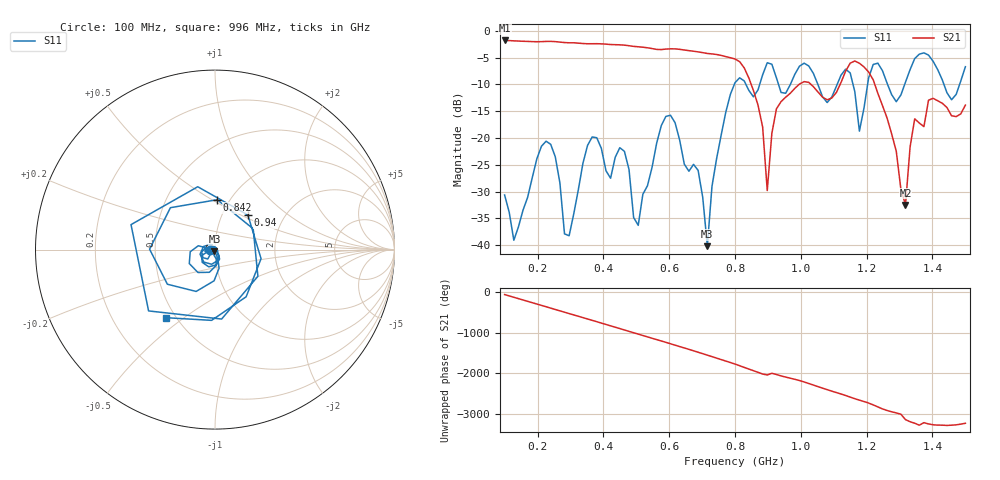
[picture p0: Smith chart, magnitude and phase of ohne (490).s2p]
! NanoVNA-App
! Date: 2025-09-25 14:24:37
! Start: 100MHz Stop: 1,5GHz Points: 101
! S-Parameter data: F S11 S21 S12 S22
# Hz S RI R 50
!  Frequency  S11_Real  S11_Imag  S21_Real  S21_Imag  S12_Real  S12_Imag  S22_Real  S22_Imag
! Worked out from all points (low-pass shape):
!   101 points, 100 MHz to 1.5 GHz, reference 50 ohm
!   highest |S21| = -1.79 dB at 100 MHz (marker M1); lowest = -32.5 dB at 1.318 GHz (marker M2)
!   |S21| within 3 dB of the highest: start of sweep to 770.9 MHz
!   lowest |S11| = -40.2 dB at 716 MHz (marker M3), VSWR 1.02, Z = 49.7 - j0.93 ohm
!   |S11| at or under -10 dB: start of sweep to 797.9 MHz; 833.2 MHz to 875 MHz (41.87 MHz wide, 4.9 % of centre); 1.052 GHz to 1.11 GHz (58.59 MHz wide, 5.42 % of centre) (the widest 3 of 7)
!   S12 and S22 are empty: the file has one direction only
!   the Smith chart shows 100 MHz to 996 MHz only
!   S11 on the Smith chart (normalised r, x): 100 MHz: 0.94, -0.01; 842 MHz: 0.88, +0.53; 940 MHz: 1.32, +0.55; 996 MHz: 0.44, -0.43
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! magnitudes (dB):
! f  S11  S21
! 100 MHz  -30.6  -1.8
! 128 MHz  -39.1  -1.9
! 226 MHz  -20.6  -2.0
! 296 MHz  -38.3  -2.2
! 338 MHz  -24.7  -2.4
! 464 MHz  -22.5  -2.7
! 506 MHz  -36.3  -3.0
! 576 MHz  -17.7  -3.5
! 688 MHz  -26.0  -3.9
! 716 MHz  -40.2  -4.2
! 800 MHz  -9.7  -5.3
! 842 MHz  -11.1  -8.8
! 898 MHz  -6.0  -29.8
! 940 MHz  -11.5  -13.2
! 996 MHz  -6.6  -9.9
! 1.038 GHz  -7.9  -10.4
! 1.178 GHz  -18.7  -6.0
! 1.22 GHz  -6.3  -9.2
! 1.276 GHz  -11.9  -19.2
! 1.318 GHz  -9.6  -32.5
! 1.346 GHz  -5.2  -16.4
! 1.5 GHz  -6.7  -13.9
